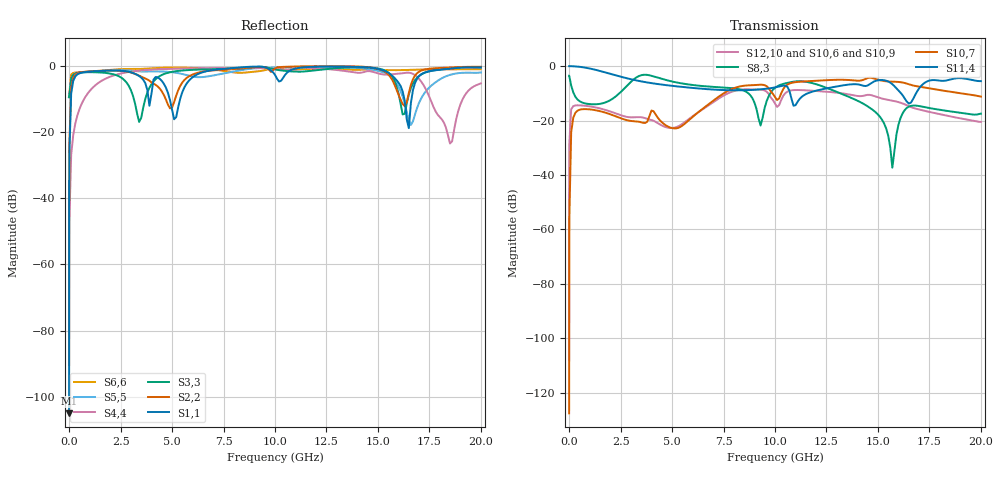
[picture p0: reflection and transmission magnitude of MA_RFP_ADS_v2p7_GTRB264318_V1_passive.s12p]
! AWR Design Environment (8379) Wed Apr 06 11:05:51 2022
! Document = 'GTRB264318FC_V1_passive'
! nPorts: 12, nXvals: 206
# HZ S DB R 50
!Freq DBS11 AngS11 DBS12 AngS12 DBS13 AngS13 DBS14 AngS14
!	DBS15 AngS15 DBS16 AngS16 DBS17 AngS17 DBS18 AngS18
!	DBS19 AngS19 DBS1_10 AngS1_10 DBS1_11 AngS1_11 DBS1_12 AngS1_12
!	DBS21 AngS21 DBS22 AngS22 DBS23 AngS23 DBS24 AngS24
!	DBS25 AngS25 DBS26 AngS26 DBS27 AngS27 DBS28 AngS28
!	DBS29 AngS29 DBS2_10 AngS2_10 DBS2_11 AngS2_11 DBS2_12 AngS2_12
!	DBS31 AngS31 DBS32 AngS32 DBS33 AngS33 DBS34 AngS34
!	DBS35 AngS35 DBS36 AngS36 DBS37 AngS37 DBS38 AngS38
!	DBS39 AngS39 DBS3_10 AngS3_10 DBS3_11 AngS3_11 DBS3_12 AngS3_12
!	DBS41 AngS41 DBS42 AngS42 DBS43 AngS43 DBS44 AngS44
!	DBS45 AngS45 DBS46 AngS46 DBS47 AngS47 DBS48 AngS48
!	DBS49 AngS49 DBS4_10 AngS4_10 DBS4_11 AngS4_11 DBS4_12 AngS4_12
!	DBS51 AngS51 DBS52 AngS52 DBS53 AngS53 DBS54 AngS54
!	DBS55 AngS55 DBS56 AngS56 DBS57 AngS57 DBS58 AngS58
!	DBS59 AngS59 DBS5_10 AngS5_10 DBS5_11 AngS5_11 DBS5_12 AngS5_12
!	DBS61 AngS61 DBS62 AngS62 DBS63 AngS63 DBS64 AngS64
!	DBS65 AngS65 DBS66 AngS66 DBS67 AngS67 DBS68 AngS68
!	DBS69 AngS69 DBS6_10 AngS6_10 DBS6_11 AngS6_11 DBS6_12 AngS6_12
!	DBS71 AngS71 DBS72 AngS72 DBS73 AngS73 DBS74 AngS74
!	DBS75 AngS75 DBS76 AngS76 DBS77 AngS77 DBS78 AngS78
!	DBS79 AngS79 DBS7_10 AngS7_10 DBS7_11 AngS7_11 DBS7_12 AngS7_12
!	DBS81 AngS81 DBS82 AngS82 DBS83 AngS83 DBS84 AngS84
!	DBS85 AngS85 DBS86 AngS86 DBS87 AngS87 DBS88 AngS88
!	DBS89 AngS89 DBS8_10 AngS8_10 DBS8_11 AngS8_11 DBS8_12 AngS8_12
!	DBS91 AngS91 DBS92 AngS92 DBS93 AngS93 DBS94 AngS94
!	DBS95 AngS95 DBS96 AngS96 DBS97 AngS97 DBS98 AngS98
!	DBS99 AngS99 DBS9_10 AngS9_10 DBS9_11 AngS9_11 DBS9_12 AngS9_12
!	DBS10_1 AngS10_1 DBS10_2 AngS10_2 DBS10_3 AngS10_3 DBS10_4 AngS10_4
!	DBS10_5 AngS10_5 DBS10_6 AngS10_6 DBS10_7 AngS10_7 DBS10_8 AngS10_8
!	DBS10_9 AngS10_9 DBS10_10 AngS10_10 DBS10_11 AngS10_11 DBS10_12 AngS10_12
!	DBS11_1 AngS11_1 DBS11_2 AngS11_2 DBS11_3 AngS11_3 DBS11_4 AngS11_4
!	DBS11_5 AngS11_5 DBS11_6 AngS11_6 DBS11_7 AngS11_7 DBS11_8 AngS11_8
!	DBS11_9 AngS11_9 DBS11_10 AngS11_10 DBS11_11 AngS11_11 DBS11_12 AngS11_12
!	DBS12_1 AngS12_1 DBS12_2 AngS12_2 DBS12_3 AngS12_3 DBS12_4 AngS12_4
!	DBS12_5 AngS12_5 DBS12_6 AngS12_6 DBS12_7 AngS12_7 DBS12_8 AngS12_8
!	DBS12_9 AngS12_9 DBS12_10 AngS12_10 DBS12_11 AngS12_11 DBS12_12 AngS12_12
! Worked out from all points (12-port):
!   205 points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, 1 kHz to 20 GHz, reference 50 ohm
!   strongest paths, dB at 1 kHz, 4.7 GHz, 9.8 GHz, 14.9 GHz, 20 GHz:
!     S11,4: 0.0, -7.0, -8.1, -5.4, -5.5
!     S10,7: -127.6, -21.8, -9.3, -4.7, -11.2
!     S8,3: -3.5, -5.1, -9.6, -17.0, -17.5
!     S12,10: -108.2, -22.4, -11.5, -11.2, -20.5
!     S10,6: -108.2, -22.4, -11.5, -11.2, -20.5
!     S10,9: -108.2, -22.4, -11.5, -11.2, -20.5
!   lowest |S11| = -104.9 dB at 1 kHz (marker M1), VSWR 1.00, Z = 50 - j0.000464 ohm
!   |S11| at or under -10 dB: start of sweep to 92.34 MHz; 4.882 GHz to 5.396 GHz (514.1 MHz wide, 10 % of centre); 16.28 GHz to 16.63 GHz (353.1 MHz wide, 2.15 % of centre)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
